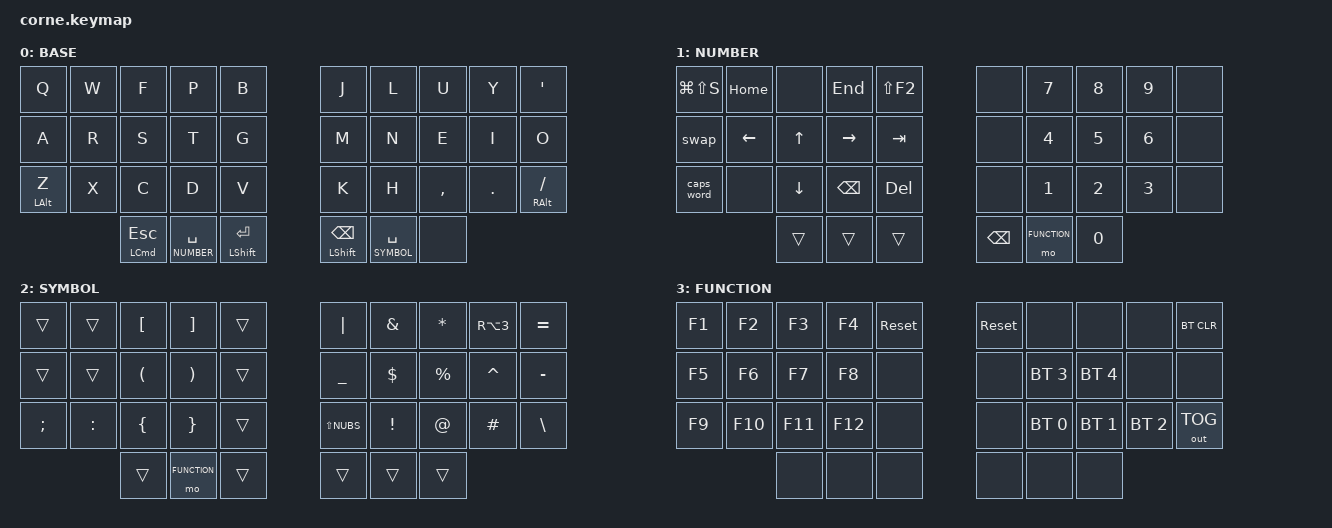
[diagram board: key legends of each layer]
/*
 * Copyright (c) 2020 The ZMK Contributors
 *
 * SPDX-License-Identifier: MIT
 */

 /* PREAMBLE */

#include <behaviors.dtsi>
#include <dt-bindings/zmk/keys.h>
#include <dt-bindings/zmk/bt.h>

#define BASE		0	 
#define NUMBER		1
#define SYMBOL		2
#define FUNCTION	3

 /* ALIASES */

#define	XXX	&none
#define	___	&trans
#define	TASKVW	&kp LG(TAB)
#define	PRINT	&kp LG(LS(S))
#define	TAG	&kp RA(N3)
#define	XIV	&kp LS(F2)
#define	CAD	&kp LC(LA(DEL))

 /* BEHAVIOURS */

&mt {
    hold-while-undecided;
};

/ {
 	behaviors {
	
     		ht: hold_tap {
       			compatible = "zmk,behavior-hold-tap";
			label = "hold_tap";
          		#binding-cells = <2>;
            		flavor = "hold-preferred";
            		tapping-term-ms = <200>;
            		quick-tap-ms = <150>;
            		bindings = <&kp>, <&kp>;
		};
		
		hm: homerow_mods {
            		compatible = "zmk,behavior-hold-tap";
            		label = "HOMEROW_MODS";
            		#binding-cells = <2>;
            		tapping-term-ms = <200>;
            		quick-tap-ms = <199>;
            		flavor = "tap-preferred";
            		bindings = <&kp>, <&kp>;
			retro-tap;
		};
		
		swap: swapper {
            		compatible = "zmk,behavior-tri-state";
            		label = "SWAPPER";
            		#binding-cells = <0>;
            		bindings = <&kt LCMD>, <&kp TAB>, <&kt LCMD>;
            		ignored-key-positions = <1>;
        	};

        };
	
/* KEYMAP */
	
	keymap {
		compatible = "zmk,keymap";

		default_layer {

			label = "BASE";
			bindings = <
// ╭──────────────┬──────────────┬──────────────┬──────────────┬──────────────╮ ╭──────────────┬──────────────┬──────────────┬──────────────┬──────────────╮ 
     &kp Q          &kp W          &kp F          &kp P          &kp B            &kp J          &kp L          &kp U          &kp Y          &kp QUOT
// ├──────────────┼──────────────┼──────────────┼──────────────┼──────────────┤ ├──────────────┼──────────────┼──────────────┼──────────────┼──────────────┤     
     &kp A          &kp R          &kp S          &kp T          &kp G            &kp M          &kp N          &kp E          &kp I          &kp O
// ├──────────────┼──────────────┼──────────────┼──────────────┼──────────────┤ ├──────────────┼──────────────┼──────────────┼──────────────┼──────────────┤   
     &hm LALT Z     &kp X          &kp C          &kp D          &kp V            &kp K          &kp H          &kp COMMA      &kp DOT        &hm RALT FSLH
// ╰──────────────┴──────────────┴──────────────┴──────────────┴──────────────╯ ╰──────────────┴──────────────┴──────────────┴──────────────┴──────────────╯   
//                               ╭──────────────┬──────────────┬──────────────╮ ╭──────────────┬──────────────┬──────────────╮
                                 &mt LCMD ESC  &lt NUMBER SPACE  &mt LSHFT ENTER  &hm LSHFT BSPC  &lt SYMBOL SPACE  XXX
//                               ╰──────────────┴──────────────┴──────────────╯ ╰──────────────┴──────────────┴──────────────╯
			>;
		};

		number_layer {
		
			label = "NUMBER";
			bindings = <
// ╭──────────────┬──────────────┬──────────────┬──────────────┬──────────────╮ ╭──────────────┬──────────────┬──────────────┬──────────────┬──────────────╮ 
     PRINT          &kp HOME       XXX            &kp END        XIV              XXX            &kp N7         &kp N8         &kp N9         XXX
// ├──────────────┼──────────────┼──────────────┼──────────────┼──────────────┤ ├──────────────┼──────────────┼──────────────┼──────────────┼──────────────┤
     &swap          &kp LEFT       &kp UP         &kp RIGHT      &kp TAB          XXX            &kp N4         &kp N5         &kp N6         XXX
// ├──────────────┼──────────────┼──────────────┼──────────────┼──────────────┤ ├──────────────┼──────────────┼──────────────┼──────────────┼──────────────┤
     &caps_word     XXX            &kp DOWN       &kp BSPC       &kp DEL          XXX            &kp N1         &kp N2         &kp N3         XXX
// ╰──────────────┴──────────────┴──────────────┴──────────────┴──────────────╯ ╰──────────────┴──────────────┴──────────────┴──────────────┴──────────────╯  
//                               ╭──────────────┬──────────────┬──────────────╮ ╭──────────────┬──────────────┬──────────────╮
                                   ___            ___            ___              &kp BSPC       &mo FUNCTION   &kp N0
//                               ╰──────────────┴──────────────┴──────────────╯ ╰──────────────┴──────────────┴──────────────╯
			>;
		};

		symbol_layer {
		
			label = "SYMBOL";
			bindings = <
// ╭──────────────┬──────────────┬──────────────┬──────────────┬──────────────╮ ╭──────────────┬──────────────┬──────────────┬──────────────┬──────────────╮ 
     ___            ___            &kp LBKT       &kp RBKT       ___              &kp PIPE       &kp AMPS       &kp ASTRK      TAG            &kp EQUAL
// ├──────────────┼──────────────┼──────────────┼──────────────┼──────────────┤ ├──────────────┼──────────────┼──────────────┼──────────────┼──────────────┤
     ___            ___            &kp LPAR       &kp RPAR       ___              &kp UNDER      &kp DLLR       &kp PRCNT      &kp CARET      &kp MINUS
// ├──────────────┼──────────────┼──────────────┼──────────────┼──────────────┤ ├──────────────┼──────────────┼──────────────┼──────────────┼──────────────┤
     &kp SEMI       &kp COLON      &kp LBRC       &kp RBRC       ___              &kp LS(NUBS)   &kp EXCL       &kp AT         &kp HASH       &kp BSLH
// ╰──────────────┴──────────────┴──────────────┴──────────────┴──────────────╯ ╰──────────────┴──────────────┴──────────────┴──────────────┴──────────────╯  
//                               ╭──────────────┬──────────────┬──────────────╮ ╭──────────────┬──────────────┬──────────────╮
                                   ___            &mo FUNCTION   ___              ___            ___            ___
//                               ╰──────────────┴──────────────┴──────────────╯ ╰──────────────┴──────────────┴──────────────╯
			>;
		};


		function_layer {

			label = "FUNCTION";
			bindings = <
// ╭──────────────┬──────────────┬──────────────┬──────────────┬──────────────╮ ╭──────────────┬──────────────┬──────────────┬──────────────┬──────────────╮ 
     &kp F1         &kp F2         &kp F3         &kp F4         &sys_reset       &sys_reset     XXX            XXX            XXX            &bt BT_CLR
// ├──────────────┼──────────────┼──────────────┼──────────────┼──────────────┤ ├──────────────┼──────────────┼──────────────┼──────────────┼──────────────┤
     &kp F5         &kp F6         &kp F7         &kp F8         XXX              XXX            &bt BT_SEL 3   &bt BT_SEL 4   XXX            XXX 
// ├──────────────┼──────────────┼──────────────┼──────────────┼──────────────┤ ├──────────────┼──────────────┼──────────────┼──────────────┼──────────────┤
     &kp F9         &kp F10        &kp F11        &kp F12        XXX              XXX            &bt BT_SEL 0   &bt BT_SEL 1   &bt BT_SEL 2   &out OUT_TOG
// ╰──────────────┴──────────────┴──────────────┴──────────────┴──────────────╯ ╰──────────────┴──────────────┴──────────────┴──────────────┴──────────────╯  
//                               ╭──────────────┬──────────────┬──────────────╮ ╭──────────────┬──────────────┬──────────────╮
                                   XXX              XXX            XXX            XXX            XXX            XXX 
//                               ╰──────────────┴──────────────┴──────────────╯ ╰──────────────┴──────────────┴──────────────╯
			>;
		};

	};
};
